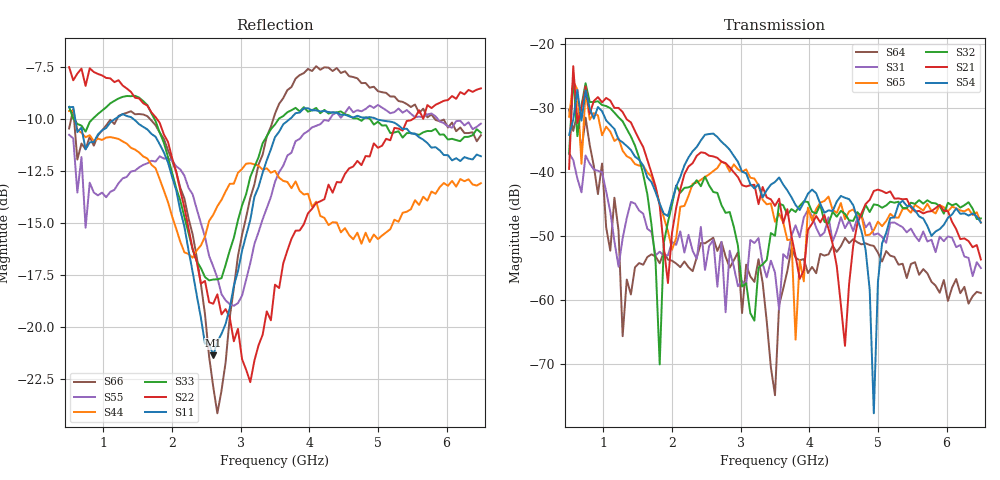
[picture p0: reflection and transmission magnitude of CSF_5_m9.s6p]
!Keysight Technologies,M9804A,MY58100912,A.14.10.03
!Date: Thursday, April 27, 2023 10:28:33
!Correction: S11(C  6-Port  )
!S12(C  6-Port  )
!S13(C  6-Port  )
!S14(C  6-Port  )
!S15(C  6-Port  )
!S16(C  6-Port  )
!S21(C  6-Port  )
!S22(C  6-Port  )
!S23(C  6-Port  )
!S24(C  6-Port  )
!S25(C  6-Port  )
!S26(C  6-Port  )
!S31(C  6-Port  )
!S32(C  6-Port  )
!S33(C  6-Port  )
!S34(C  6-Port  )
!S35(C  6-Port  )
!S36(C  6-Port  )
!S41(C  6-Port  )
!S42(C  6-Port  )
!S43(C  6-Port  )
!S44(C  6-Port  )
!S45(C  6-Port  )
!S46(C  6-Port  )
!S51(C  6-Port  )
!S52(C  6-Port  )
!S53(C  6-Port  )
!S54(C  6-Port  )
!S55(C  6-Port  )
!S56(C  6-Port  )
!S61(C  6-Port  )
!S62(C  6-Port  )
!S63(C  6-Port  )
!S64(C  6-Port  )
!S65(C  6-Port  )
!S66(C  6-Port  )
!S6P File: Measurement: :
# Hz S  RI  R 50
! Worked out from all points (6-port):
!   101 points, 500 MHz to 6.5 GHz, reference 50 ohm
!   strongest paths, dB at 500 MHz, 2 GHz, 3.5 GHz, 5 GHz, 6.5 GHz:
!     S54: -34.2, -44.5, -41.6, -57.2, -47.9
!     S21: -39.5, -49.5, -45.3, -42.8, -53.7
!     S32: -37.1, -45.1, -50.0, -45.2, -47.3
!     S65: -31.4, -52.1, -47.8, -47.8, -47.9
!     S31: -37.1, -50.9, -55.7, -49.6, -55.0
!     S64: -30.3, -53.9, -74.9, -52.6, -58.9
!   lowest |S11| = -21.4 dB at 2.6 GHz (marker M1), VSWR 1.19, Z = 42.4 + j2.2 ohm
!   |S11| at or under -10 dB: 588.8 MHz to 1.167 GHz (578 MHz wide, 65.8 % of centre); 1.438 GHz to 3.715 GHz (2.277 GHz wide, 88.4 % of centre); 4.98 GHz to end of sweep
